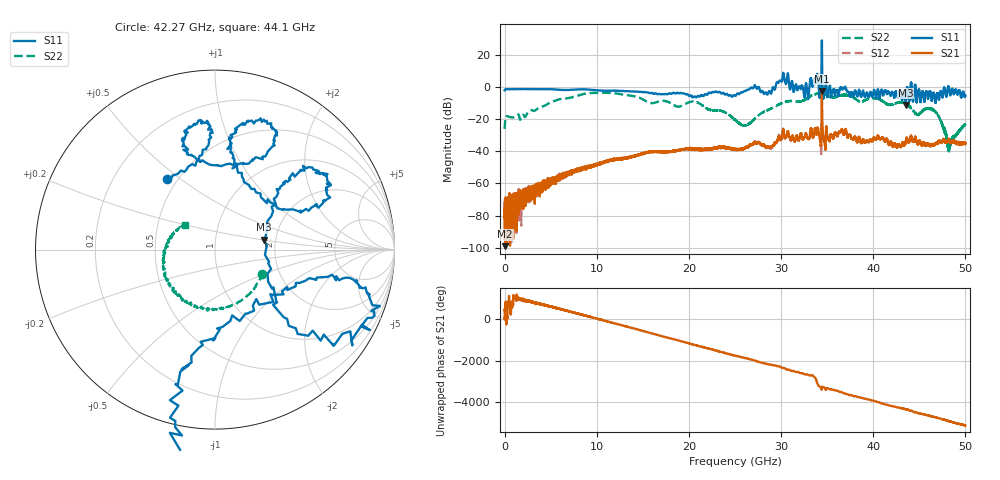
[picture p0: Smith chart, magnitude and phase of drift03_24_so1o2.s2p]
!Created with skrf (http://scikit-rf.org).
# Hz S RI R 50.0
!freq ReS11 ImS11 ReS21 ImS21 ReS12 ImS12 ReS22 ImS22
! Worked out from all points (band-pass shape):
!   10000 points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, 5.3 MHz to 50 GHz, reference 50 ohm
!   highest |S21| = -2.49 dB at 34.43 GHz (marker M1); lowest = -99.0 dB at 80.3 MHz (marker M2)
!   |S21| within 3 dB of the highest: 34.42758 GHz to 34.43429 GHz (6.712 MHz wide, 0.0195 % of centre)
!   lowest |S11| = -11.1 dB at 43.52 GHz (marker M3), VSWR 1.77, Z = 86.6 + j10.3 ohm
!   |S11| at or under -10 dB: 43.49735 GHz to 43.54215 GHz (44.79 MHz wide, 0.103 % of centre)
!   |S22| runs from -40.8 to -3.6 dB; largest |S21 - S12| = 0.24
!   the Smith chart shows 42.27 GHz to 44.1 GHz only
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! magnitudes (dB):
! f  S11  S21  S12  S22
! 5.3 MHz  -2.1  -81.3  -75.1  -26.1
! 80.3 MHz  -1.5  -99.0  -84.8  -19.4
! 2.585 GHz  -1.4  -66.5  -68.8  -15.6
! 8.34 GHz  -1.5  -50.9  -51.0  -4.7
! 16.67 GHz  -4.4  -40.4  -40.3  -9.2
! 20.72 GHz  -6.3  -39.0  -38.3  -9.3
! 25.01 GHz  -5.5  -39.0  -38.6  -20.5
! 26.22 GHz  -2.3  -37.7  -37.5  -23.7
! 28.72 GHz  -2.5  -37.6  -37.7  -14.0
! 30.14 GHz  4.4  -29.4  -29.6  -10.0
! 32.74 GHz  2.0  -29.6  -29.3  -7.4
! 33.34 GHz  2.5  -27.4  -27.7  -5.3
! 33.82 GHz  3.9  -29.0  -29.4  -4.4
! 34.43 GHz  28.9  -2.5  -4.8  -4.0
! 36.48 GHz  -0.5  -28.0  -27.8  -5.4
! 38.88 GHz  -2.4  -32.6  -32.5  -9.0
! 41.67 GHz  -3.1  -35.9  -35.7  -11.1
! 43.52 GHz  -11.1  -34.5  -34.4  -10.4
! 44.77 GHz  -7.8  -34.7  -35.0  -17.2
! 46.67 GHz  -5.6  -35.9  -35.8  -15.1
! 48.22 GHz  -0.7  -33.2  -33.1  -35.9
! 50 GHz  -5.3  -35.3  -35.0  -23.3
